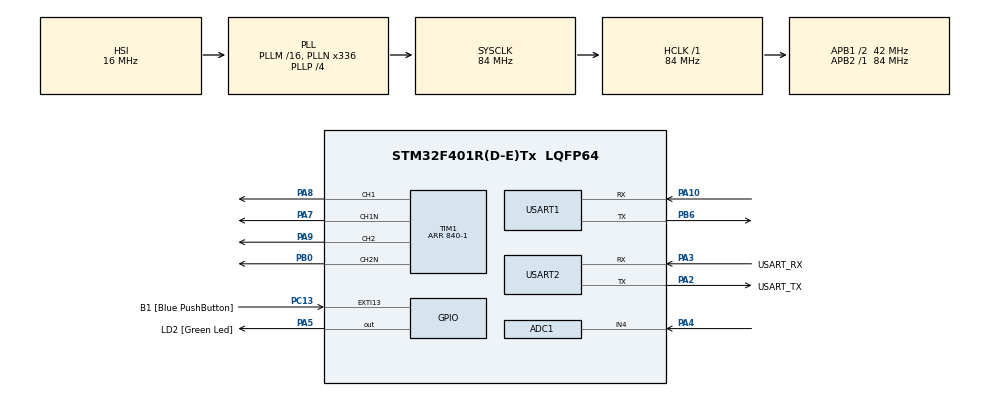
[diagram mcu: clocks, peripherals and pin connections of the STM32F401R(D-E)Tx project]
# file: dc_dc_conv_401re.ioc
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ADC1.Channel-7\#ChannelRegularConversion=ADC_CHANNEL_4
ADC1.ContinuousConvMode=ENABLE
ADC1.NbrOfConversionFlag=1
ADC1.Rank-7\#ChannelRegularConversion=1
ADC1.SamplingTime-7\#ChannelRegularConversion=ADC_SAMPLETIME_480CYCLES
ADC1.master=1
Mcu.Family=STM32F4
Mcu.Name=STM32F401R(D-E)Tx
Mcu.Package=LQFP64
NVIC.PriorityGroup=NVIC_PRIORITYGROUP_0
PA10.Mode=Asynchronous
PA10.Signal=USART1_RX
PA13.GPIO_Label=TMS
PA13.Mode=Serial_Wire
PA13.Signal=SYS_JTMS-SWDIO
PA14.GPIO_Label=TCK
PA14.Mode=Serial_Wire
PA14.Signal=SYS_JTCK-SWCLK
PA2.GPIO_Label=USART_TX
PA2.GPIO_Mode=GPIO_MODE_AF_PP
PA2.GPIO_PuPd=GPIO_NOPULL
PA2.GPIO_Speed=GPIO_SPEED_FREQ_LOW
PA2.Mode=Asynchronous
PA2.Signal=USART2_TX
PA3.GPIO_Label=USART_RX
PA3.GPIO_Mode=GPIO_MODE_AF_PP
PA3.GPIO_PuPd=GPIO_NOPULL
PA3.GPIO_Speed=GPIO_SPEED_FREQ_LOW
PA3.Mode=Asynchronous
PA3.Signal=USART2_RX
PA4.Signal=ADCx_IN4
PA5.GPIO_Label=LD2 [Green Led]
PA5.GPIO_Mode=GPIO_MODE_OUTPUT_PP
PA5.GPIO_PuPd=GPIO_NOPULL
PA5.GPIO_Speed=GPIO_SPEED_FREQ_LOW
PA5.Signal=GPIO_Output
PA7.Mode=PWM Generation1 CH1 CH1N
PA7.Signal=TIM1_CH1N
PA8.Signal=S_TIM1_CH1
PA9.Signal=S_TIM1_CH2
PB0.Mode=PWM Generation2 CH2 CH2N
PB0.Signal=TIM1_CH2N
PB3.GPIO_Label=SWO
PB3.Signal=SYS_JTDO-SWO
PB6.Mode=Asynchronous
PB6.Signal=USART1_TX
PC13-ANTI_TAMP.GPIO_Label=B1 [Blue PushButton]
PC13-ANTI_TAMP.GPIO_ModeDefaultEXTI=GPIO_MODE_IT_FALLING
PC13-ANTI_TAMP.GPIO_PuPd=GPIO_NOPULL
PC13-ANTI_TAMP.Signal=GPXTI13
PC14-OSC32_IN.Mode=LSE-External-Oscillator
PC14-OSC32_IN.Signal=RCC_OSC32_IN
PC15-OSC32_OUT.Mode=LSE-External-Oscillator
PC15-OSC32_OUT.Signal=RCC_OSC32_OUT
PH0\ -\ OSC_IN.Mode=HSE-External-Oscillator
PH0\ -\ OSC_IN.Signal=RCC_OSC_IN
PH1\ -\ OSC_OUT.Mode=HSE-External-Oscillator
PH1\ -\ OSC_OUT.Signal=RCC_OSC_OUT
ProjectManager.HeapSize=0x200
ProjectManager.StackSize=0x400
ProjectManager.TargetToolchain=STM32CubeIDE
RCC.48MHZClocksFreq_Value=48000000
RCC.AHBFreq_Value=84000000
RCC.APB1CLKDivider=RCC_HCLK_DIV2
RCC.APB1Freq_Value=42000000
RCC.APB1TimFreq_Value=84000000
RCC.APB2Freq_Value=84000000
RCC.APB2TimFreq_Value=84000000
RCC.CortexFreq_Value=84000000
RCC.HCLKFreq_Value=84000000
RCC.HSE_VALUE=8000000
RCC.HSI_VALUE=16000000
RCC.PLLN=336
RCC.PLLP=RCC_PLLP_DIV4
RCC.PLLQ=7
RCC.SYSCLKFreq_VALUE=84000000
RCC.SYSCLKSource=RCC_SYSCLKSOURCE_PLLCLK
RCC.VCOOutputFreq_Value=336000000
SH.ADCx_IN4.0=ADC1_IN4,IN4
SH.S_TIM1_CH1.0=TIM1_CH1,PWM Generation1 CH1 CH1N
SH.S_TIM1_CH2.0=TIM1_CH2,PWM Generation2 CH2 CH2N
TIM1.Channel-PWM\ Generation1\ CH1\ CH1N=TIM_CHANNEL_1
TIM1.Channel-PWM\ Generation2\ CH2\ CH2N=TIM_CHANNEL_2
TIM1.DeadTime=10
TIM1.OCNIdleState_1=TIM_OCNIDLESTATE_RESET
TIM1.Period=840-1
TIM1.Pulse-PWM\ Generation1\ CH1\ CH1N=420-1
USART1.VirtualMode=VM_ASYNC
USART2.VirtualMode=VM_ASYNC
VP_TIM1_VS_ClockSourceINT.Mode=Internal
VP_TIM3_VS_ClockSourceINT.Mode=Internal
board=NUCLEO-F401RE

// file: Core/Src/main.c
/* USER CODE BEGIN Header */
/**
  ******************************************************************************
  * @file           : main.c
  * @brief          : Main program body
  ******************************************************************************
  * @attention
  *
  * Copyright (c) 2024 STMicroelectronics.
  * All rights reserved.
  *
  * This software is licensed under terms that can be found in the LICENSE file
  * in the root directory of this software component.
  * If no LICENSE file comes with this software, it is provided AS-IS.
  *
  ******************************************************************************
  */
/* USER CODE END Header */
#include "main.h"

ADC_HandleTypeDef hadc1;

TIM_HandleTypeDef htim1;
TIM_HandleTypeDef htim3;

UART_HandleTypeDef huart1;
UART_HandleTypeDef huart2;

/* USER CODE BEGIN PV */

#define PID_SETPOINT 1000 //setpoint
#define PAD_SUPPLY_VOLTAGE 3.3f
#define MAX_PED_VOLTAGE 1.545f

#define PID_SAMPLE_TIME 5 //5us
#define Kp 0.5f
#define Ki 0.008f
#define Kd 0.015f

float pwm_value=0;
float pwm_output=0;
float Up;
int cikis;
int PWM;
int feedback;
int set_gerilimi;
static float pidLastEror=0;
static float pidIntegral;
static float pidIntegral0=0;
float eror;
float pidDerivative;
float pidOutput;
float time;
float cikis_gerilimi;

/* USER CODE END PV */

void SystemClock_Config(void);
static void MX_GPIO_Init(void);
static void MX_USART2_UART_Init(void);
static void MX_ADC1_Init(void);
static void MX_TIM1_Init(void);
static void MX_TIM3_Init(void);
static void MX_USART1_UART_Init(void);
/* USER CODE BEGIN PFP */

float calculatePID(float setValue, float realValue, int maxOutputValue)
{
  #define MAX_PED_VOLTAGE_FORMULA(setVoltage, supplyVoltage)  ( (4095 * setVoltage) / supplyVoltage )
  #define MAX_PED_VOLTAGE_CAL   MAX_PED_VOLTAGE_FORMULA(MAX_PED_VOLTAGE, PAD_SUPPLY_VOLTAGE)

  eror       =  (setValue - realValue);
  Up = Kp*eror;
  pidIntegral  = (Ki*eror)+pidIntegral0;
  pidIntegral0 = pidIntegral;
  pidDerivative =  ( Kd*(eror - pidLastEror) );
  pidOutput  =  Up + pidIntegral + pidDerivative;
  cikis= pidOutput;
  pidLastEror = realValue;

 /* if(pidOutput > MAX_PED_VOLTAGE_CAL)
    pidOutput = MAX_PED_VOLTAGE_CAL;
  else if(pidOutput <= 0)
    pidOutput = 0;*/

  return cikis;
}

int pidControl()
{

  PWM = calculatePID(PID_SETPOINT, feedback, MAX_PED_VOLTAGE);

  return PWM;
}

void buckMode()
{
		pidControl();		//PID FONKSIYONUNA GIR
		pwm_value=pwm_value+pidControl();

		if(pwm_value>839){
			pwm_value=839;
		}
		else if(pwm_value<0){
			  pwm_value=0;
		}
		else{
			pwm_value=pwm_value;
		}

		__HAL_TIM_SET_COMPARE(&htim1 , TIM_CHANNEL_1 , pwm_value);
		__HAL_TIM_SET_COMPARE(&htim1 , TIM_CHANNEL_2 , 840);

}

void boostMode()
{
		  pidControl();		//PID FONKSIYONUNA GIR
		  pwm_value=pwm_value-pidControl();

		  if(pwm_value>839){
			  pwm_value=839;
		  }
		  else if(pwm_value<0){
			  pwm_value=0;
		  }
		  else{
			  pwm_value=pwm_value;
		  }

		  __HAL_TIM_SET_COMPARE(&htim1 , TIM_CHANNEL_2 , 839-pwm_value);
		  __HAL_TIM_SET_COMPARE(&htim1 , TIM_CHANNEL_1 , 840);

}

/* USER CODE END PFP */

int main(void)
{

  /* MCU Configuration--------------------------------------------------------*/

  /* Reset of all peripherals, Initializes the Flash interface and the Systick. */
  HAL_Init();

  /* Configure the system clock */
  SystemClock_Config();

  /* Initialize all configured peripherals */
  MX_GPIO_Init();
  MX_USART2_UART_Init();
  MX_ADC1_Init();
  MX_TIM1_Init();
  MX_TIM3_Init();
  MX_USART1_UART_Init();
  /* USER CODE BEGIN 2 */

  HAL_ADC_Start(&hadc1);
  HAL_TIM_PWM_Start(&htim1, TIM_CHANNEL_1);
  HAL_TIMEx_PWMN_Start(&htim1, TIM_CHANNEL_1);
  HAL_TIM_PWM_Start(&htim1, TIM_CHANNEL_2);
  HAL_TIMEx_PWMN_Start(&htim1, TIM_CHANNEL_2);

  /* USER CODE END 2 */

  /* Infinite loop */
  while (1)
  {

    /* USER CODE BEGIN 3 */
	  HAL_ADC_Start(&hadc1);
	  HAL_ADC_PollForConversion(&hadc1, 1000);
	  feedback = HAL_ADC_GetValue(&hadc1);
	  set_gerilimi=PID_SETPOINT/4095*(51.04);
	  cikis_gerilimi=(feedback/4095)*(51.04);

	  if(eror<0){
		  buckMode();
	}
	  else if (eror>=0) {
		boostMode();
	}
	  HAL_Delay(10);
  }
  /* USER CODE END 3 */
}

void SystemClock_Config(void)
{
  RCC_OscInitTypeDef RCC_OscInitStruct = {0};
  RCC_ClkInitTypeDef RCC_ClkInitStruct = {0};

  /** Configure the main internal regulator output voltage
  */
  __HAL_RCC_PWR_CLK_ENABLE();
  __HAL_PWR_VOLTAGESCALING_CONFIG(PWR_REGULATOR_VOLTAGE_SCALE2);

  /** Initializes the RCC Oscillators according to the specified parameters
  * in the RCC_OscInitTypeDef structure.
  */
  RCC_OscInitStruct.OscillatorType = RCC_OSCILLATORTYPE_HSI;
  RCC_OscInitStruct.HSIState = RCC_HSI_ON;
  RCC_OscInitStruct.HSICalibrationValue = RCC_HSICALIBRATION_DEFAULT;
  RCC_OscInitStruct.PLL.PLLState = RCC_PLL_ON;
  RCC_OscInitStruct.PLL.PLLSource = RCC_PLLSOURCE_HSI;
  RCC_OscInitStruct.PLL.PLLM = 16;
  RCC_OscInitStruct.PLL.PLLN = 336;
  RCC_OscInitStruct.PLL.PLLP = RCC_PLLP_DIV4;
  RCC_OscInitStruct.PLL.PLLQ = 7;
  if (HAL_RCC_OscConfig(&RCC_OscInitStruct) != HAL_OK)
  {
    Error_Handler();
  }

  /** Initializes the CPU, AHB and APB buses clocks
  */
  RCC_ClkInitStruct.ClockType = RCC_CLOCKTYPE_HCLK|RCC_CLOCKTYPE_SYSCLK
                              |RCC_CLOCKTYPE_PCLK1|RCC_CLOCKTYPE_PCLK2;
  RCC_ClkInitStruct.SYSCLKSource = RCC_SYSCLKSOURCE_PLLCLK;
  RCC_ClkInitStruct.AHBCLKDivider = RCC_SYSCLK_DIV1;
  RCC_ClkInitStruct.APB1CLKDivider = RCC_HCLK_DIV2;
  RCC_ClkInitStruct.APB2CLKDivider = RCC_HCLK_DIV1;

  if (HAL_RCC_ClockConfig(&RCC_ClkInitStruct, FLASH_LATENCY_2) != HAL_OK)
  {
    Error_Handler();
  }
}

static void MX_ADC1_Init(void)
{

  ADC_ChannelConfTypeDef sConfig = {0};

  /** Configure the global features of the ADC (Clock, Resolution, Data Alignment and number of conversion)
  */
  hadc1.Instance = ADC1;
  hadc1.Init.ClockPrescaler = ADC_CLOCK_SYNC_PCLK_DIV4;
  hadc1.Init.Resolution = ADC_RESOLUTION_12B;
  hadc1.Init.ScanConvMode = DISABLE;
  hadc1.Init.ContinuousConvMode = ENABLE;
  hadc1.Init.DiscontinuousConvMode = DISABLE;
  hadc1.Init.ExternalTrigConvEdge = ADC_EXTERNALTRIGCONVEDGE_NONE;
  hadc1.Init.ExternalTrigConv = ADC_SOFTWARE_START;
  hadc1.Init.DataAlign = ADC_DATAALIGN_RIGHT;
  hadc1.Init.NbrOfConversion = 1;
  hadc1.Init.DMAContinuousRequests = DISABLE;
  hadc1.Init.EOCSelection = ADC_EOC_SINGLE_CONV;
  if (HAL_ADC_Init(&hadc1) != HAL_OK)
  {
    Error_Handler();
  }

  /** Configure for the selected ADC regular channel its corresponding rank in the sequencer and its sample time.
  */
  sConfig.Channel = ADC_CHANNEL_4;
  sConfig.Rank = 1;
  sConfig.SamplingTime = ADC_SAMPLETIME_480CYCLES;
  if (HAL_ADC_ConfigChannel(&hadc1, &sConfig) != HAL_OK)
  {
    Error_Handler();
  }

}

static void MX_TIM1_Init(void)
{

  TIM_ClockConfigTypeDef sClockSourceConfig = {0};
  TIM_MasterConfigTypeDef sMasterConfig = {0};
  TIM_OC_InitTypeDef sConfigOC = {0};
  TIM_BreakDeadTimeConfigTypeDef sBreakDeadTimeConfig = {0};

  htim1.Instance = TIM1;
  htim1.Init.Prescaler = 0;
  htim1.Init.CounterMode = TIM_COUNTERMODE_UP;
  htim1.Init.Period = 840-1;
  htim1.Init.ClockDivision = TIM_CLOCKDIVISION_DIV1;
  htim1.Init.RepetitionCounter = 0;
  htim1.Init.AutoReloadPreload = TIM_AUTORELOAD_PRELOAD_DISABLE;
  if (HAL_TIM_Base_Init(&htim1) != HAL_OK)
  {
    Error_Handler();
  }
  sClockSourceConfig.ClockSource = TIM_CLOCKSOURCE_INTERNAL;
  if (HAL_TIM_ConfigClockSource(&htim1, &sClockSourceConfig) != HAL_OK)
  {
    Error_Handler();
  }
  if (HAL_TIM_PWM_Init(&htim1) != HAL_OK)
  {
    Error_Handler();
  }
  sMasterConfig.MasterOutputTrigger = TIM_TRGO_RESET;
  sMasterConfig.MasterSlaveMode = TIM_MASTERSLAVEMODE_DISABLE;
  if (HAL_TIMEx_MasterConfigSynchronization(&htim1, &sMasterConfig) != HAL_OK)
  {
    Error_Handler();
  }
  sConfigOC.OCMode = TIM_OCMODE_PWM1;
  sConfigOC.Pulse = 420-1;
  sConfigOC.OCPolarity = TIM_OCPOLARITY_HIGH;
  sConfigOC.OCNPolarity = TIM_OCNPOLARITY_HIGH;
  sConfigOC.OCFastMode = TIM_OCFAST_DISABLE;
  sConfigOC.OCIdleState = TIM_OCIDLESTATE_RESET;
  sConfigOC.OCNIdleState = TIM_OCNIDLESTATE_RESET;
  if (HAL_TIM_PWM_ConfigChannel(&htim1, &sConfigOC, TIM_CHANNEL_1) != HAL_OK)
  {
    Error_Handler();
  }
  sConfigOC.Pulse = 0;
  if (HAL_TIM_PWM_ConfigChannel(&htim1, &sConfigOC, TIM_CHANNEL_2) != HAL_OK)
  {
    Error_Handler();
  }
  sBreakDeadTimeConfig.OffStateRunMode = TIM_OSSR_DISABLE;
  sBreakDeadTimeConfig.OffStateIDLEMode = TIM_OSSI_DISABLE;
  sBreakDeadTimeConfig.LockLevel = TIM_LOCKLEVEL_OFF;
  sBreakDeadTimeConfig.DeadTime = 10;
  sBreakDeadTimeConfig.BreakState = TIM_BREAK_DISABLE;
  sBreakDeadTimeConfig.BreakPolarity = TIM_BREAKPOLARITY_HIGH;
  sBreakDeadTimeConfig.AutomaticOutput = TIM_AUTOMATICOUTPUT_DISABLE;
  if (HAL_TIMEx_ConfigBreakDeadTime(&htim1, &sBreakDeadTimeConfig) != HAL_OK)
  {
    Error_Handler();
  }
  HAL_TIM_MspPostInit(&htim1);

}

static void MX_TIM3_Init(void)
{

  TIM_ClockConfigTypeDef sClockSourceConfig = {0};
  TIM_MasterConfigTypeDef sMasterConfig = {0};

  htim3.Instance = TIM3;
  htim3.Init.Prescaler = 0;
  htim3.Init.CounterMode = TIM_COUNTERMODE_UP;
  htim3.Init.Period = 65535;
  htim3.Init.ClockDivision = TIM_CLOCKDIVISION_DIV1;
  htim3.Init.AutoReloadPreload = TIM_AUTORELOAD_PRELOAD_DISABLE;
  if (HAL_TIM_Base_Init(&htim3) != HAL_OK)
  {
    Error_Handler();
  }
  sClockSourceConfig.ClockSource = TIM_CLOCKSOURCE_INTERNAL;
  if (HAL_TIM_ConfigClockSource(&htim3, &sClockSourceConfig) != HAL_OK)
  {
    Error_Handler();
  }
  sMasterConfig.MasterOutputTrigger = TIM_TRGO_RESET;
  sMasterConfig.MasterSlaveMode = TIM_MASTERSLAVEMODE_DISABLE;
  if (HAL_TIMEx_MasterConfigSynchronization(&htim3, &sMasterConfig) != HAL_OK)
  {
    Error_Handler();
  }

}

static void MX_USART1_UART_Init(void)
{

  huart1.Instance = USART1;
  huart1.Init.BaudRate = 115200;
  huart1.Init.WordLength = UART_WORDLENGTH_8B;
  huart1.Init.StopBits = UART_STOPBITS_1;
  huart1.Init.Parity = UART_PARITY_NONE;
  huart1.Init.Mode = UART_MODE_TX_RX;
  huart1.Init.HwFlowCtl = UART_HWCONTROL_NONE;
  huart1.Init.OverSampling = UART_OVERSAMPLING_16;
  if (HAL_UART_Init(&huart1) != HAL_OK)
  {
    Error_Handler();
  }

}

static void MX_USART2_UART_Init(void)
{

  huart2.Instance = USART2;
  huart2.Init.BaudRate = 115200;
  huart2.Init.WordLength = UART_WORDLENGTH_8B;
  huart2.Init.StopBits = UART_STOPBITS_1;
  huart2.Init.Parity = UART_PARITY_NONE;
  huart2.Init.Mode = UART_MODE_TX_RX;
  huart2.Init.HwFlowCtl = UART_HWCONTROL_NONE;
  huart2.Init.OverSampling = UART_OVERSAMPLING_16;
  if (HAL_UART_Init(&huart2) != HAL_OK)
  {
    Error_Handler();
  }

}

static void MX_GPIO_Init(void)
{
  GPIO_InitTypeDef GPIO_InitStruct = {0};

  /* GPIO Ports Clock Enable */
  __HAL_RCC_GPIOC_CLK_ENABLE();
  __HAL_RCC_GPIOH_CLK_ENABLE();
  __HAL_RCC_GPIOA_CLK_ENABLE();
  __HAL_RCC_GPIOB_CLK_ENABLE();

  /*Configure GPIO pin Output Level */
  HAL_GPIO_WritePin(LD2_GPIO_Port, LD2_Pin, GPIO_PIN_RESET);

  /*Configure GPIO pin : B1_Pin */
  GPIO_InitStruct.Pin = B1_Pin;
  GPIO_InitStruct.Mode = GPIO_MODE_IT_FALLING;
  GPIO_InitStruct.Pull = GPIO_NOPULL;
  HAL_GPIO_Init(B1_GPIO_Port, &GPIO_InitStruct);

  /*Configure GPIO pin : LD2_Pin */
  GPIO_InitStruct.Pin = LD2_Pin;
  GPIO_InitStruct.Mode = GPIO_MODE_OUTPUT_PP;
  GPIO_InitStruct.Pull = GPIO_NOPULL;
  GPIO_InitStruct.Speed = GPIO_SPEED_FREQ_LOW;
  HAL_GPIO_Init(LD2_GPIO_Port, &GPIO_InitStruct);

}

void Error_Handler(void)
{
  __disable_irq();
  while (1)
  {
  }
}
